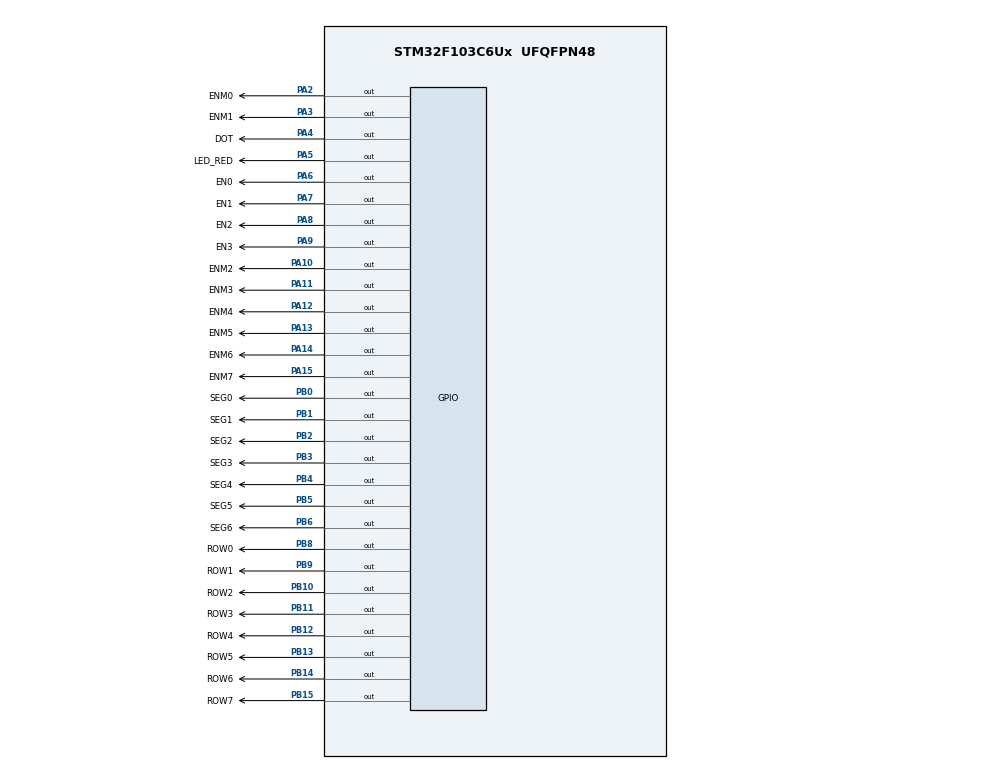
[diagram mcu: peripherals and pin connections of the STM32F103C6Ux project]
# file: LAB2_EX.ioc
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Mcu.Family=STM32F1
Mcu.Name=STM32F103C6Ux
Mcu.Package=UFQFPN48
NVIC.PriorityGroup=NVIC_PRIORITYGROUP_4
NVIC.TIM2_IRQn=true\:0\:0\:false\:false\:true\:true\:true
PA10.GPIO_Label=ENM2
PA10.Signal=GPIO_Output
PA11.GPIO_Label=ENM3
PA11.Signal=GPIO_Output
PA12.GPIO_Label=ENM4
PA12.Signal=GPIO_Output
PA13.GPIO_Label=ENM5
PA13.Signal=GPIO_Output
PA14.GPIO_Label=ENM6
PA14.Signal=GPIO_Output
PA15.GPIO_Label=ENM7
PA15.Signal=GPIO_Output
PA2.GPIO_Label=ENM0
PA2.Signal=GPIO_Output
PA3.GPIO_Label=ENM1
PA3.Signal=GPIO_Output
PA4.GPIO_Label=DOT
PA4.Signal=GPIO_Output
PA5.GPIO_Label=LED_RED
PA5.Signal=GPIO_Output
PA6.GPIO_Label=EN0
PA6.Signal=GPIO_Output
PA7.GPIO_Label=EN1
PA7.Signal=GPIO_Output
PA8.GPIO_Label=EN2
PA8.Signal=GPIO_Output
PA9.GPIO_Label=EN3
PA9.Signal=GPIO_Output
PB0.GPIO_Label=SEG0
PB0.Signal=GPIO_Output
PB1.GPIO_Label=SEG1
PB1.Signal=GPIO_Output
PB10.GPIO_Label=ROW2
PB10.Signal=GPIO_Output
PB11.GPIO_Label=ROW3
PB11.Signal=GPIO_Output
PB12.GPIO_Label=ROW4
PB12.Signal=GPIO_Output
PB13.GPIO_Label=ROW5
PB13.Signal=GPIO_Output
PB14.GPIO_Label=ROW6
PB14.Signal=GPIO_Output
PB15.GPIO_Label=ROW7
PB15.Signal=GPIO_Output
PB2.GPIO_Label=SEG2
PB2.Signal=GPIO_Output
PB3.GPIO_Label=SEG3
PB3.Signal=GPIO_Output
PB4.GPIO_Label=SEG4
PB4.Signal=GPIO_Output
PB5.GPIO_Label=SEG5
PB5.Signal=GPIO_Output
PB6.GPIO_Label=SEG6
PB6.Signal=GPIO_Output
PB8.GPIO_Label=ROW0
PB8.Signal=GPIO_Output
PB9.GPIO_Label=ROW1
PB9.Signal=GPIO_Output
ProjectManager.HeapSize=0x200
ProjectManager.StackSize=0x400
ProjectManager.TargetToolchain=STM32CubeIDE
RCC.APB1Freq_Value=8000000
RCC.APB2Freq_Value=8000000
TIM2.Period=9
TIM2.Prescaler=7999
VP_SYS_VS_ND.Mode=No_Debug
VP_TIM2_VS_ClockSourceINT.Mode=Internal
board=custom

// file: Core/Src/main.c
/* USER CODE BEGIN Header */
/**
  ******************************************************************************
  * @file           : main.c
  * @brief          : Main program body
  ******************************************************************************
  * @attention
  *
  * <h2><center>&copy; Copyright (c) 2025 STMicroelectronics.
  * All rights reserved.</center></h2>
  *
  * This software component is licensed by ST under BSD 3-Clause license,
  * the "License"; You may not use this file except in compliance with the
  * License. You may obtain a copy of the License at:
  *                        opensource.org/licenses/BSD-3-Clause
  *
  ******************************************************************************
  */
/* USER CODE END Header */
#include "main.h"

/* USER CODE BEGIN Includes */
#include "software_timer.h"
/* USER CODE END Includes */

TIM_HandleTypeDef htim2;

/* USER CODE BEGIN PV */
#define MAX_LED 4

int index_led = 0;
int hour = 15, minute = 59, second = 49;
uint8_t led_buffer[MAX_LED] = {1, 2, 3, 4};

const int MAX_LED_MATRIX = 8;
int index_led_matrix = 0;
uint8_t matrix_buffer[8] = {
		  0b00000000,
		  0b11111100,
		  0b00001010,
		  0b00001001,
		  0b00001001,
		  0b00001010,
		  0b11111100,
		  0b00000000

};

uint8_t A[8] = {
		  0b00000000,
		  0b11111100,
		  0b00001010,
		  0b00001001,
		  0b00001001,
		  0b00001010,
		  0b11111100,
		  0b00000000

};

int offset = 0;

/* USER CODE END PV */

void SystemClock_Config(void);
static void MX_GPIO_Init(void);
static void MX_TIM2_Init(void);
/* USER CODE BEGIN PFP */
void display7SEG(int num);
void update7SEG(int index);
void updateClockBuffer(void);
void updateLEDMatrix(int index);
void updateMatrixBuffer(void);
void shiftRightMatrix(void);
/* USER CODE END PFP */

int main(void)
{

  /* MCU Configuration--------------------------------------------------------*/

  /* Reset of all peripherals, Initializes the Flash interface and the Systick. */
  HAL_Init();

  /* Configure the system clock */
  SystemClock_Config();

  /* Initialize all configured peripherals */
  MX_GPIO_Init();
  MX_TIM2_Init();
  /* USER CODE BEGIN 2 */
  HAL_TIM_Base_Start_IT (& htim2 ) ;
  /* USER CODE END 2 */

  /* Infinite loop */
  /* USER CODE BEGIN WHILE */
  updateClockBuffer();

  setTimer1(25);
  setTimer2(50);
  setTimer3(100);
  setTimer4(10);
  setTimer5(80);

  while (1)
  {

	  if (timer1_flag == 1) {
	          setTimer1(25);
	          update7SEG(index_led);
	          index_led++;
	          if (index_led >= MAX_LED) index_led = 0;
	   }

	  if (timer2_flag == 1) {
	          setTimer2(100);
	          HAL_GPIO_TogglePin(LED_RED_GPIO_Port, LED_RED_Pin);
	          HAL_GPIO_TogglePin(DOT_GPIO_Port, DOT_Pin);
	  }

	  if (timer3_flag == 1) {
	          setTimer3(100);
	          second++;
	          if (second >= 60) {
	              second = 0;
	              minute++;
	          }
	          if (minute >= 60) {
	              minute = 0;
	              hour++;
	          }
	          if (hour >= 24) {
	              hour = 0;
	          }
	          updateClockBuffer();
	   }

	      if (timer4_flag == 1) {
	          setTimer4(10);
	          updateLEDMatrix(index_led_matrix);
	          index_led_matrix++;
	          if (index_led_matrix >= 8)
	              index_led_matrix = 0;
	      }

	      if (timer5_flag == 1) {
	          setTimer5(80);
	          shiftRightMatrix();
	      }

    /* USER CODE END WHILE */

  }
}

void SystemClock_Config(void)
{
  RCC_OscInitTypeDef RCC_OscInitStruct = {0};
  RCC_ClkInitTypeDef RCC_ClkInitStruct = {0};

  /** Initializes the RCC Oscillators according to the specified parameters
  * in the RCC_OscInitTypeDef structure.
  */
  RCC_OscInitStruct.OscillatorType = RCC_OSCILLATORTYPE_HSI;
  RCC_OscInitStruct.HSIState = RCC_HSI_ON;
  RCC_OscInitStruct.HSICalibrationValue = RCC_HSICALIBRATION_DEFAULT;
  RCC_OscInitStruct.PLL.PLLState = RCC_PLL_NONE;
  if (HAL_RCC_OscConfig(&RCC_OscInitStruct) != HAL_OK)
  {
    Error_Handler();
  }
  /** Initializes the CPU, AHB and APB buses clocks
  */
  RCC_ClkInitStruct.ClockType = RCC_CLOCKTYPE_HCLK|RCC_CLOCKTYPE_SYSCLK
                              |RCC_CLOCKTYPE_PCLK1|RCC_CLOCKTYPE_PCLK2;
  RCC_ClkInitStruct.SYSCLKSource = RCC_SYSCLKSOURCE_HSI;
  RCC_ClkInitStruct.AHBCLKDivider = RCC_SYSCLK_DIV1;
  RCC_ClkInitStruct.APB1CLKDivider = RCC_HCLK_DIV1;
  RCC_ClkInitStruct.APB2CLKDivider = RCC_HCLK_DIV1;

  if (HAL_RCC_ClockConfig(&RCC_ClkInitStruct, FLASH_LATENCY_0) != HAL_OK)
  {
    Error_Handler();
  }
}

static void MX_TIM2_Init(void)
{

  TIM_ClockConfigTypeDef sClockSourceConfig = {0};
  TIM_MasterConfigTypeDef sMasterConfig = {0};

  htim2.Instance = TIM2;
  htim2.Init.Prescaler = 7999;
  htim2.Init.CounterMode = TIM_COUNTERMODE_UP;
  htim2.Init.Period = 9;
  htim2.Init.ClockDivision = TIM_CLOCKDIVISION_DIV1;
  htim2.Init.AutoReloadPreload = TIM_AUTORELOAD_PRELOAD_DISABLE;
  if (HAL_TIM_Base_Init(&htim2) != HAL_OK)
  {
    Error_Handler();
  }
  sClockSourceConfig.ClockSource = TIM_CLOCKSOURCE_INTERNAL;
  if (HAL_TIM_ConfigClockSource(&htim2, &sClockSourceConfig) != HAL_OK)
  {
    Error_Handler();
  }
  sMasterConfig.MasterOutputTrigger = TIM_TRGO_RESET;
  sMasterConfig.MasterSlaveMode = TIM_MASTERSLAVEMODE_DISABLE;
  if (HAL_TIMEx_MasterConfigSynchronization(&htim2, &sMasterConfig) != HAL_OK)
  {
    Error_Handler();
  }

}

static void MX_GPIO_Init(void)
{
  GPIO_InitTypeDef GPIO_InitStruct = {0};

  /* GPIO Ports Clock Enable */
  __HAL_RCC_GPIOA_CLK_ENABLE();
  __HAL_RCC_GPIOB_CLK_ENABLE();

  /*Configure GPIO pin Output Level */
  HAL_GPIO_WritePin(GPIOA, ENM0_Pin|ENM1_Pin|DOT_Pin|LED_RED_Pin
                          |EN0_Pin|EN1_Pin|EN2_Pin|EN3_Pin
                          |ENM2_Pin|ENM3_Pin|ENM4_Pin|ENM5_Pin
                          |ENM6_Pin|ENM7_Pin, GPIO_PIN_RESET);

  /*Configure GPIO pin Output Level */
  HAL_GPIO_WritePin(GPIOB, SEG0_Pin|SEG1_Pin|SEG2_Pin|ROW2_Pin
                          |ROW3_Pin|ROW4_Pin|ROW5_Pin|ROW6_Pin
                          |ROW7_Pin|SEG3_Pin|SEG4_Pin|SEG5_Pin
                          |SEG6_Pin|ROW0_Pin|ROW1_Pin, GPIO_PIN_RESET);

  /*Configure GPIO pins : ENM0_Pin ENM1_Pin DOT_Pin LED_RED_Pin
                           EN0_Pin EN1_Pin EN2_Pin EN3_Pin
                           ENM2_Pin ENM3_Pin ENM4_Pin ENM5_Pin
                           ENM6_Pin ENM7_Pin */
  GPIO_InitStruct.Pin = ENM0_Pin|ENM1_Pin|DOT_Pin|LED_RED_Pin
                          |EN0_Pin|EN1_Pin|EN2_Pin|EN3_Pin
                          |ENM2_Pin|ENM3_Pin|ENM4_Pin|ENM5_Pin
                          |ENM6_Pin|ENM7_Pin;
  GPIO_InitStruct.Mode = GPIO_MODE_OUTPUT_PP;
  GPIO_InitStruct.Pull = GPIO_NOPULL;
  GPIO_InitStruct.Speed = GPIO_SPEED_FREQ_LOW;
  HAL_GPIO_Init(GPIOA, &GPIO_InitStruct);

  /*Configure GPIO pins : SEG0_Pin SEG1_Pin SEG2_Pin ROW2_Pin
                           ROW3_Pin ROW4_Pin ROW5_Pin ROW6_Pin
                           ROW7_Pin SEG3_Pin SEG4_Pin SEG5_Pin
                           SEG6_Pin ROW0_Pin ROW1_Pin */
  GPIO_InitStruct.Pin = SEG0_Pin|SEG1_Pin|SEG2_Pin|ROW2_Pin
                          |ROW3_Pin|ROW4_Pin|ROW5_Pin|ROW6_Pin
                          |ROW7_Pin|SEG3_Pin|SEG4_Pin|SEG5_Pin
                          |SEG6_Pin|ROW0_Pin|ROW1_Pin;
  GPIO_InitStruct.Mode = GPIO_MODE_OUTPUT_PP;
  GPIO_InitStruct.Pull = GPIO_NOPULL;
  GPIO_InitStruct.Speed = GPIO_SPEED_FREQ_LOW;
  HAL_GPIO_Init(GPIOB, &GPIO_InitStruct);

}

/* USER CODE BEGIN 4 */

void display7SEG(int num) {
    static const uint8_t segCode[10][7] = {
        {0,0,0,0,0,0,1},
		{1,0,0,1,1,1,1},
		{0,0,1,0,0,1,0},
		{0,0,0,0,1,1,0},
        {1,0,0,1,1,0,0},
		{0,1,0,0,1,0,0},
		{0,1,0,0,0,0,0},
		{0,0,0,1,1,1,1},
        {0,0,0,0,0,0,0},
		{0,0,0,0,1,0,0}
    };

    if (num < 0 || num > 9) num = 0;
    HAL_GPIO_WritePin(SEG0_GPIO_Port, SEG0_Pin, segCode[num][0]);
    HAL_GPIO_WritePin(SEG1_GPIO_Port, SEG1_Pin, segCode[num][1]);
    HAL_GPIO_WritePin(SEG2_GPIO_Port, SEG2_Pin, segCode[num][2]);
    HAL_GPIO_WritePin(SEG3_GPIO_Port, SEG3_Pin, segCode[num][3]);
    HAL_GPIO_WritePin(SEG4_GPIO_Port, SEG4_Pin, segCode[num][4]);
    HAL_GPIO_WritePin(SEG5_GPIO_Port, SEG5_Pin, segCode[num][5]);
    HAL_GPIO_WritePin(SEG6_GPIO_Port, SEG6_Pin, segCode[num][6]);
}

void update7SEG(int index) {
    if (index < 0 || index >= MAX_LED) return;

    HAL_GPIO_WritePin(EN0_GPIO_Port, EN0_Pin, GPIO_PIN_SET);
    HAL_GPIO_WritePin(EN1_GPIO_Port, EN1_Pin, GPIO_PIN_SET);
    HAL_GPIO_WritePin(EN2_GPIO_Port, EN2_Pin, GPIO_PIN_SET);
    HAL_GPIO_WritePin(EN3_GPIO_Port, EN3_Pin, GPIO_PIN_SET);

    display7SEG(led_buffer[index]);

    switch (index) {
        case 0: HAL_GPIO_WritePin(EN0_GPIO_Port, EN0_Pin, GPIO_PIN_RESET); break;
        case 1: HAL_GPIO_WritePin(EN1_GPIO_Port, EN1_Pin, GPIO_PIN_RESET); break;
        case 2: HAL_GPIO_WritePin(EN2_GPIO_Port, EN2_Pin, GPIO_PIN_RESET); break;
        case 3: HAL_GPIO_WritePin(EN3_GPIO_Port, EN3_Pin, GPIO_PIN_RESET); break;
    }
}

void updateClockBuffer(void) {
    led_buffer[0] = hour / 10;
    led_buffer[1] = hour % 10;
    led_buffer[2] = minute / 10;
    led_buffer[3] = minute % 10;
}

void updateMatrixBuffer(void) {
    for (int i = 0; i < 8; i++) {
        int srcIndex = i + offset;
        if (srcIndex < 8)
            matrix_buffer[i] = A[srcIndex];
        else
            matrix_buffer[i] = 0b00000000;
    }

    offset++;
    if (offset > 8) offset = 0;
}

void updateLEDMatrix(int index) {
    if (index < 0 || index >= MAX_LED_MATRIX) return;

    HAL_GPIO_WritePin(ENM0_GPIO_Port, ENM0_Pin, GPIO_PIN_SET);
    HAL_GPIO_WritePin(ENM1_GPIO_Port, ENM1_Pin, GPIO_PIN_SET);
    HAL_GPIO_WritePin(ENM2_GPIO_Port, ENM2_Pin, GPIO_PIN_SET);
    HAL_GPIO_WritePin(ENM3_GPIO_Port, ENM3_Pin, GPIO_PIN_SET);
    HAL_GPIO_WritePin(ENM4_GPIO_Port, ENM4_Pin, GPIO_PIN_SET);
    HAL_GPIO_WritePin(ENM5_GPIO_Port, ENM5_Pin, GPIO_PIN_SET);
    HAL_GPIO_WritePin(ENM6_GPIO_Port, ENM6_Pin, GPIO_PIN_SET);
    HAL_GPIO_WritePin(ENM7_GPIO_Port, ENM7_Pin, GPIO_PIN_SET);

    for (int row = 0; row < 8; row++) {
        uint8_t bit = (matrix_buffer[index] >> row) & 0x01;
        HAL_GPIO_WritePin(GPIOB, (1 << (8 + row)), bit ? GPIO_PIN_RESET : GPIO_PIN_SET);
    }

    switch (index) {
        case 0: HAL_GPIO_WritePin(ENM0_GPIO_Port, ENM0_Pin, GPIO_PIN_RESET); break;
        case 1: HAL_GPIO_WritePin(ENM1_GPIO_Port, ENM1_Pin, GPIO_PIN_RESET); break;
        case 2: HAL_GPIO_WritePin(ENM2_GPIO_Port, ENM2_Pin, GPIO_PIN_RESET); break;
        case 3: HAL_GPIO_WritePin(ENM3_GPIO_Port, ENM3_Pin, GPIO_PIN_RESET); break;
        case 4: HAL_GPIO_WritePin(ENM4_GPIO_Port, ENM4_Pin, GPIO_PIN_RESET); break;
        case 5: HAL_GPIO_WritePin(ENM5_GPIO_Port, ENM5_Pin, GPIO_PIN_RESET); break;
        case 6: HAL_GPIO_WritePin(ENM6_GPIO_Port, ENM6_Pin, GPIO_PIN_RESET); break;
        case 7: HAL_GPIO_WritePin(ENM7_GPIO_Port, ENM7_Pin, GPIO_PIN_RESET); break;
    }
}

void shiftRightMatrix(void) {
    for (int i = 7; i > 0; i--) {
        matrix_buffer[i] = matrix_buffer[i - 1];
    }

    if (offset < 8)
        matrix_buffer[0] = A[7 - offset];
    else
        matrix_buffer[0] = 0x00;

    offset++;
    if (offset > 8) offset = 0;

}

void HAL_TIM_PeriodElapsedCallback(TIM_HandleTypeDef *htim) {
	timerRun();
}
/* USER CODE END 4 */

void Error_Handler(void)
{
  __disable_irq();
  while (1)
  {
  }
}

/************************ (C) COPYRIGHT STMicroelectronics *****END OF FILE****/
